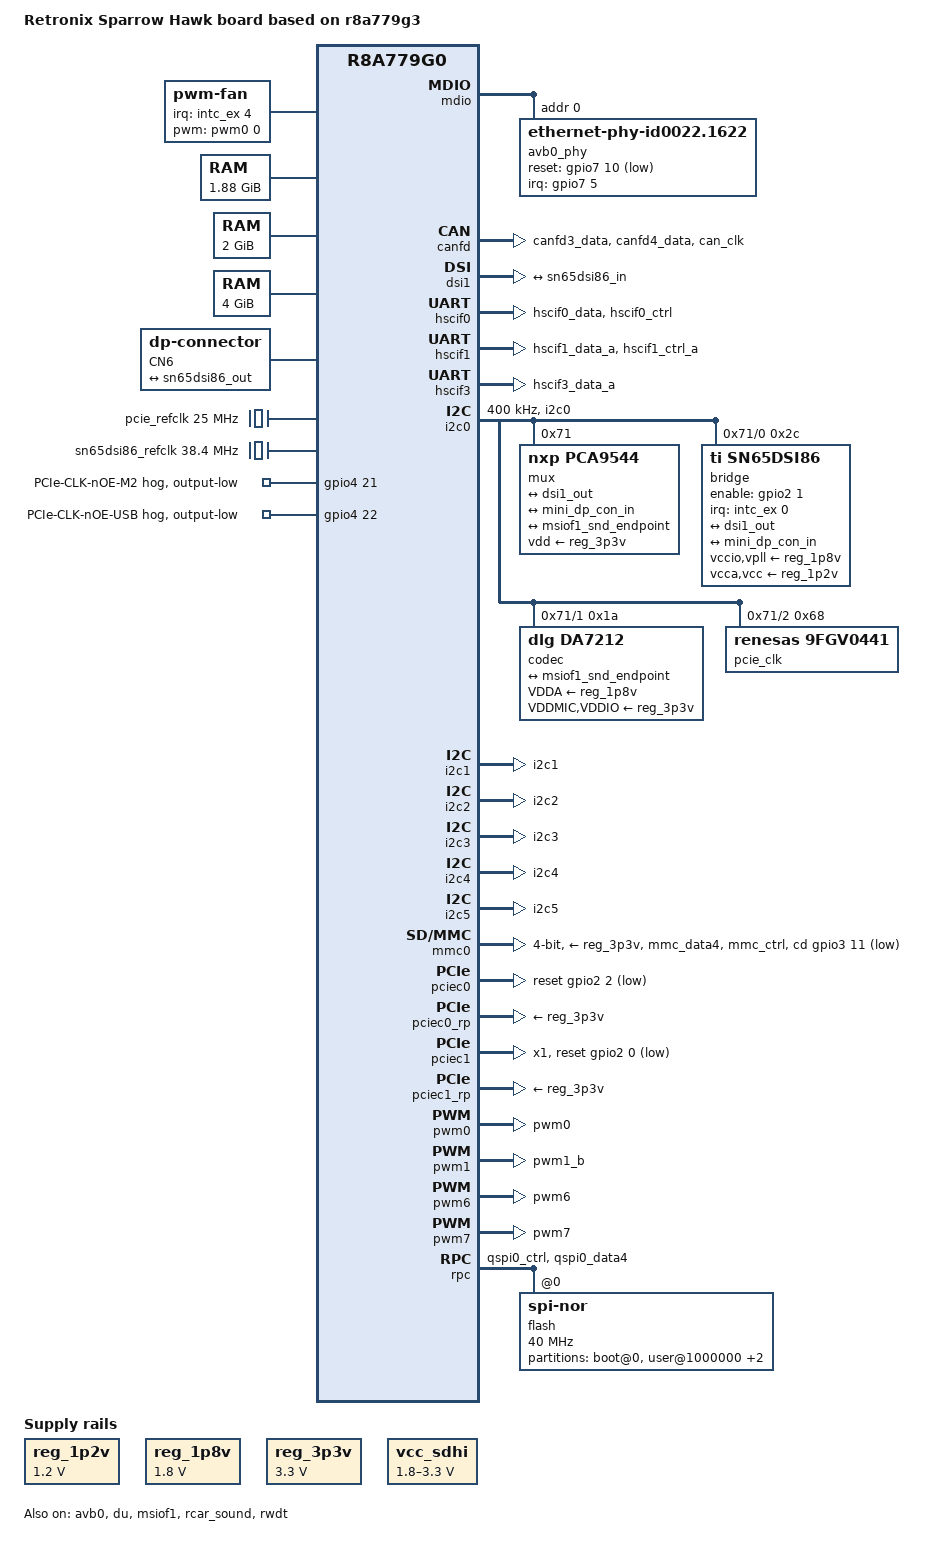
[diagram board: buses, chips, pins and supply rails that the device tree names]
// SPDX-License-Identifier: (GPL-2.0-only OR BSD-2-Clause)
/*
 * Device Tree Source for the R-Car V4H ES3.0 Sparrow Hawk board
 *
 * Copyright (C) 2025 Marek Vasut <marek.vasut+renesas@mailbox.org>
 */
/*
 * DA7212 Codec settings
 *
 * for Playback
 *	> amixer set "Headphone" 40%
 *	> amixer set "Headphone" on
 *	> amixer set "Mixout Left DAC Left"  on
 *	> amixer set "Mixout Right DAC Right" on
 *	> aplay xxx.wav
 *
 * for Capture (Aux/Mic)
 *
 *		on/off (B)
 *	CONN3 (HeadSet) ---+----> MSIOF1
 *			   |
 *	CONN4 AUX ---------+ on/off (A)
 *
 *	> amixer set "Mixin PGA" on
 *	> amixer set "Mixin PGA" 50%
 *	> amixer set "ADC" on
 *	> amixer set "ADC" 80%
 *	> amixer set "Aux" on				^
 *	> amixer set "Aux" 80%				| (A)
 *	> amixer set "Mixin Left Aux Left" on		|
 *	> amixer set "Mixin Right Aux Right" on		v
 *	> amixer set "Mic 1" on				^
 *	> amixer set "Mic 1" 80%			| (B)
 *	> amixer set "Mixin Left Mic 1" on		|
 *	> amixer set "Mixin Right Mic 1" on		v
 *	> arecord -f cd xxx.wav
 */

/dts-v1/;
#include <dt-bindings/gpio/gpio.h>
#include <dt-bindings/thermal/thermal.h>

#include "r8a779g3.dtsi"

/ {
	model = "Retronix Sparrow Hawk board based on r8a779g3";
	compatible = "retronix,sparrow-hawk", "renesas,r8a779g3",
		     "renesas,r8a779g0";

	aliases {
		ethernet0 = &avb0;
		i2c0 = &i2c0;
		i2c1 = &i2c1;
		i2c2 = &i2c2;
		i2c3 = &i2c3;
		i2c4 = &i2c4;
		i2c5 = &i2c5;
		serial0 = &hscif0;
		serial1 = &hscif1;
		serial2 = &hscif3;
		spi0 = &rpc;
	};

	chosen {
		bootargs = "ignore_loglevel rw root=/dev/nfs ip=on";
		stdout-path = "serial0:921600n8";
	};

	/* Page 31 / FAN */
	fan: pwm-fan {
		pinctrl-0 = <&irq4_pins>;
		pinctrl-names = "default";
		compatible = "pwm-fan";
		#cooling-cells = <2>;
		interrupts-extended = <&intc_ex 4 IRQ_TYPE_EDGE_FALLING>;
		/*
		 * The fan model connected to this device can be selected
		 * by user. Set "cooling-levels" DT property to single 255
		 * entry to force the fan PWM into constant HIGH, which
		 * forces the fan to spin at maximum RPM, thus providing
		 * maximum cooling to this device and protection against
		 * misconfigured PWM duty cycle to the fan.
		 *
		 * User has to configure "pwms" and "pulses-per-revolution"
		 * DT properties according to fan datasheet first, and then
		 * extend "cooling-levels = <0 m n ... 255>" property to
		 * achieve proper fan control compatible with fan model
		 * installed by user.
		 */
		cooling-levels = <255>;
		pulses-per-revolution = <2>;
		pwms = <&pwm0 0 50000>;
	};

	/*
	 * Page 15 / LPDDR5
	 *
	 * This configuration listed below is for the 8 GiB board variant
	 * with MT62F1G64D8EK-023 WT:C LPDDR5 part populated on the board.
	 *
	 * A variant with 16 GiB MT62F2G64D8EK-023 WT:C part populated on
	 * the board is automatically handled by the bootloader, which
	 * adjusts the correct DRAM size into the memory nodes below.
	 */
	memory@48000000 {
		device_type = "memory";
		/* first 128MB is reserved for secure area. */
		reg = <0x0 0x48000000 0x0 0x78000000>;
	};

	memory@480000000 {
		device_type = "memory";
		reg = <0x4 0x80000000 0x0 0x80000000>;
	};

	memory@600000000 {
		device_type = "memory";
		reg = <0x6 0x00000000 0x1 0x00000000>;
	};

	/* Page 27 / DSI to Display */
	mini-dp-con {
		compatible = "dp-connector";
		label = "CN6";
		type = "full-size";

		port {
			mini_dp_con_in: endpoint {
				remote-endpoint = <&sn65dsi86_out>;
			};
		};
	};

	/* Page 26 / PCIe.0/1 CLK */
	pcie_refclk: clk-x8 {
		compatible = "fixed-clock";
		#clock-cells = <0>;
		clock-frequency = <25000000>;
	};

	reg_1p2v: regulator-1p2v {
		compatible = "regulator-fixed";
		regulator-name = "fixed-1.2V";
		regulator-min-microvolt = <1200000>;
		regulator-max-microvolt = <1200000>;
		regulator-boot-on;
		regulator-always-on;
	};

	reg_1p8v: regulator-1p8v {
		compatible = "regulator-fixed";
		regulator-name = "fixed-1.8V";
		regulator-min-microvolt = <1800000>;
		regulator-max-microvolt = <1800000>;
		regulator-boot-on;
		regulator-always-on;
	};

	reg_3p3v: regulator-3p3v {
		compatible = "regulator-fixed";
		regulator-name = "fixed-3.3V";
		regulator-min-microvolt = <3300000>;
		regulator-max-microvolt = <3300000>;
		regulator-boot-on;
		regulator-always-on;
	};

	/* Page 27 / DSI to Display */
	sn65dsi86_refclk: clk-x9 {
		compatible = "fixed-clock";
		#clock-cells = <0>;
		clock-frequency = <38400000>;
	};

	/* Page 30 / Audio_Codec */
	sound_card: sound {
		compatible = "audio-graph-card2";
		links = <&msiof1_snd>;
	};

	/* Page 17 uSD-Slot */
	vcc_sdhi: regulator-vcc-sdhi {
		compatible = "regulator-gpio";
		regulator-name = "SDHI VccQ";
		regulator-min-microvolt = <1800000>;
		regulator-max-microvolt = <3300000>;
		gpios = <&gpio8 13 GPIO_ACTIVE_HIGH>;
		gpios-states = <1>;
		states = <1800000 0>, <3300000 1>;
	};
};

/* Use thermal-idle cooling for all SoC cores */
&a76_0 {
	#cooling-cells = <2>;

	a76_0_thermal_idle: thermal-idle {
		#cooling-cells = <2>;
		duration-us = <10000>;
		exit-latency-us = <500>;
	};
};

&a76_1 {
	a76_1_thermal_idle: thermal-idle {
		#cooling-cells = <2>;
		duration-us = <10000>;
		exit-latency-us = <500>;
	};
};

&a76_2 {
	a76_2_thermal_idle: thermal-idle {
		#cooling-cells = <2>;
		duration-us = <10000>;
		exit-latency-us = <500>;
	};
};

&a76_3 {
	a76_3_thermal_idle: thermal-idle {
		#cooling-cells = <2>;
		duration-us = <10000>;
		exit-latency-us = <500>;
	};
};

&audio_clkin {
	clock-frequency = <24576000>;
};

/* Page 22 / Ether_AVB0 */
&avb0 {
	pinctrl-0 = <&avb0_pins>;
	pinctrl-names = "default";
	phy-handle = <&avb0_phy>;
	tx-internal-delay-ps = <2000>;
	status = "okay";

	mdio {
		#address-cells = <1>;
		#size-cells = <0>;

		avb0_phy: ethernet-phy@0 {	/* KSZ9031RNXVB */
			compatible = "ethernet-phy-id0022.1622",
				     "ethernet-phy-ieee802.3-c22";
			rxc-skew-ps = <1500>;
			reg = <0>;
			/* AVB0_PHY_INT_V */
			interrupts-extended = <&gpio7 5 IRQ_TYPE_LEVEL_LOW>;
			/* GP7_10/AVB0_RESETN_V */
			reset-gpios = <&gpio7 10 GPIO_ACTIVE_LOW>;
			reset-assert-us = <10000>;
			reset-deassert-us = <300>;
		};
	};
};

/* Page 28 / CANFD_IF */
&can_clk {
	clock-frequency = <40000000>;
};

/* Page 28 / CANFD_IF */
&canfd {
	pinctrl-0 = <&canfd3_pins>, <&canfd4_pins>, <&can_clk_pins>;
	pinctrl-names = "default";

	status = "okay";

	channel3 {
		status = "okay";
	};

	channel4 {
		status = "okay";
	};
};

/* Page 27 / DSI to Display */
&dsi1 {
	status = "okay";

	ports {
		port@1 {
			dsi1_out: endpoint {
				remote-endpoint = <&sn65dsi86_in>;
				data-lanes = <1 2 3 4>;
			};
		};
	};
};

/* Page 27 / DSI to Display */
&du {
	status = "okay";
};

/* Page 5 / R-Car V4H_INT_I2C */
&extal_clk {	/* X3 */
	clock-frequency = <16666666>;
};

/* Page 5 / R-Car V4H_INT_I2C */
&extalr_clk {	/* X2 */
	clock-frequency = <32768>;
};

/* Page 26 / 2230 Key M M.2 */
&gpio4 {
	/* 9FGV0441 nOE inputs 0 and 1 */
	pcie-m2-oe-hog {
		gpio-hog;
		gpios = <21 GPIO_ACTIVE_HIGH>;
		output-low;
		line-name = "PCIe-CLK-nOE-M2";
	};

	/* 9FGV0441 nOE inputs 2 and 3 */
	pcie-usb-oe-hog {
		gpio-hog;
		gpios = <22 GPIO_ACTIVE_HIGH>;
		output-low;
		line-name = "PCIe-CLK-nOE-USB";
	};
};

/* Page 23 / DEBUG */
&hscif0 {	/* FTDI ADBUS[3:0] */
	pinctrl-0 = <&hscif0_pins>;
	pinctrl-names = "default";
	uart-has-rtscts;
	bootph-all;

	status = "okay";
};

/* Page 23 / DEBUG */
&hscif1 {	/* FTDI BDBUS[3:0] */
	pinctrl-0 = <&hscif1_pins>;
	pinctrl-names = "default";
	uart-has-rtscts;

	status = "okay";
};

/* Page 24 / UART */
&hscif3 {	/* CN7 pins 8 (TX) and 10 (RX) */
	pinctrl-0 = <&hscif3_pins>;
	pinctrl-names = "default";

	status = "okay";
};

/* Page 24 / I2C SWITCH */
&i2c0 {
	#address-cells = <1>;
	#size-cells = <0>;
	pinctrl-0 = <&i2c0_pins>;
	pinctrl-names = "default";
	clock-frequency = <400000>;
	status = "okay";

	mux@71 {
		compatible = "nxp,pca9544";	/* TCA9544 */
		reg = <0x71>;
		#address-cells = <1>;
		#size-cells = <0>;
		vdd-supply = <&reg_3p3v>;

		i2c0_mux0: i2c@0 {
			reg = <0>;
			#address-cells = <1>;
			#size-cells = <0>;

			/* Page 27 / DSI to Display */
			bridge@2c {
				pinctrl-0 = <&irq0_pins>;
				pinctrl-names = "default";

				compatible = "ti,sn65dsi86";
				reg = <0x2c>;

				clocks = <&sn65dsi86_refclk>;
				clock-names = "refclk";

				interrupts-extended = <&intc_ex 0 IRQ_TYPE_LEVEL_HIGH>;

				enable-gpios = <&gpio2 1 GPIO_ACTIVE_HIGH>;

				vccio-supply = <&reg_1p8v>;
				vpll-supply = <&reg_1p8v>;
				vcca-supply = <&reg_1p2v>;
				vcc-supply = <&reg_1p2v>;

				ports {
					#address-cells = <1>;
					#size-cells = <0>;

					port@0 {
						reg = <0>;
						sn65dsi86_in: endpoint {
							remote-endpoint = <&dsi1_out>;
						};
					};

					port@1 {
						reg = <1>;
						sn65dsi86_out: endpoint {
							remote-endpoint = <&mini_dp_con_in>;
						};
					};
				};
			};
		};

		i2c0_mux1: i2c@1 {
			reg = <1>;
			#address-cells = <1>;
			#size-cells = <0>;

			/* Page 30 / Audio_Codec */
			codec@1a {
				compatible = "dlg,da7212";

				#sound-dai-cells = <0>;
				reg = <0x1a>;

				clocks = <&rcar_sound>;
				clock-names = "mclk";

				VDDA-supply   = <&reg_1p8v>;
				VDDMIC-supply = <&reg_3p3v>;
				VDDIO-supply  = <&reg_3p3v>;

				port {
					da7212_endpoint: endpoint {
						bitclock-master;
						frame-master;
						remote-endpoint = <&msiof1_snd_endpoint>;
					};
				};
			};
		};

		i2c0_mux2: i2c@2 {
			reg = <2>;
			#address-cells = <1>;
			#size-cells = <0>;

			/* Page 26 / PCIe.0/1 CLK */
			pcie_clk: clk@68 {
				compatible = "renesas,9fgv0441";
				reg = <0x68>;
				clocks = <&pcie_refclk>;
				#clock-cells = <1>;
			};
		};

		i2c0_mux3: i2c@3 {
			reg = <3>;
			#address-cells = <1>;
			#size-cells = <0>;
		};
	};
};

/* Page 29 / CSI_IF_CN / CAM_CN0 */
&i2c1 {
	#address-cells = <1>;
	#size-cells = <0>;
	pinctrl-0 = <&i2c1_pins>;
	pinctrl-names = "default";
};

/* Page 29 / CSI_IF_CN / CAM_CN1 */
&i2c2 {
	#address-cells = <1>;
	#size-cells = <0>;
	pinctrl-0 = <&i2c2_pins>;
	pinctrl-names = "default";
};

/* Page 31 / IO_CN */
&i2c3 {
	#address-cells = <1>;
	#size-cells = <0>;
	pinctrl-0 = <&i2c3_pins>;
	pinctrl-names = "default";
};

/* Page 31 / IO_CN */
&i2c4 {
	#address-cells = <1>;
	#size-cells = <0>;
	pinctrl-0 = <&i2c4_pins>;
	pinctrl-names = "default";
};

/* Page 18 / POWER_CORE and Page 19 / POWER_PMIC */
&i2c5 {
	#address-cells = <1>;
	#size-cells = <0>;
	pinctrl-0 = <&i2c5_pins>;
	pinctrl-names = "default";
};

/* Page 17 uSD-Slot */
&mmc0 {
	pinctrl-0 = <&sd_pins>;
	pinctrl-1 = <&sd_uhs_pins>;
	pinctrl-names = "default", "state_uhs";
	bus-width = <4>;
	cd-gpios = <&gpio3 11 GPIO_ACTIVE_LOW>;	/* SD_CD */
	sd-uhs-sdr50;
	sd-uhs-sdr104;
	vmmc-supply = <&reg_3p3v>;
	vqmmc-supply = <&vcc_sdhi>;
	status = "okay";
};

&msiof1 {
	pinctrl-0 = <&msiof1_pins>;
	pinctrl-names = "default";

	status = "okay";

	/* ignore DT warning */
	/delete-property/#address-cells;
	/delete-property/#size-cells;

	msiof1_snd: port {
		msiof1_snd_endpoint: endpoint {
			remote-endpoint = <&da7212_endpoint>;
		};
	};
};

/* Page 26 / 2230 Key M M.2 */
&pcie0_clkref {
	status = "disabled";
};

&pciec0 {
	clocks = <&cpg CPG_MOD 624>, <&pcie_clk 0>;
	reset-gpios = <&gpio2 2 GPIO_ACTIVE_LOW>;
	status = "okay";
};

&pciec0_rp {
	clocks = <&pcie_clk 1>;
	vpcie3v3-supply = <&reg_3p3v>;
};

/* Page 25 / PCIe to USB */
&pcie1_clkref {
	status = "disabled";
};

&pciec1 {
	clocks = <&cpg CPG_MOD 625>, <&pcie_clk 2>;
	/* uPD720201 is PCIe Gen2 x1 device */
	num-lanes = <1>;
	reset-gpios = <&gpio2 0 GPIO_ACTIVE_LOW>;
	status = "okay";
};

&pciec1_rp {
	clocks = <&pcie_clk 3>;
	vpcie3v3-supply = <&reg_3p3v>;
};

&pfc {
	pinctrl-0 = <&scif_clk_pins>;
	pinctrl-names = "default";

	/* Page 22 / Ether_AVB0 */
	avb0_pins: avb0 {
		mux {
			groups = "avb0_link", "avb0_mdio", "avb0_rgmii",
				 "avb0_txcrefclk";
			function = "avb0";
		};

		pins-mdio {
			groups = "avb0_mdio";
			drive-strength = <21>;
		};

		pins-mii {
			groups = "avb0_rgmii";
			drive-strength = <21>;
		};

		pins-vddq18-25-avb {
			pins = "PIN_VDDQ_AVB0", "PIN_VDDQ_AVB1", "PIN_VDDQ_AVB2", "PIN_VDDQ_TSN0";
			power-source = <1800>;
		};
	};

	/* Page 28 / CANFD_IF */
	can_clk_pins: can-clk {
		groups = "can_clk";
		function = "can_clk";
	};

	/* Page 28 / CANFD_IF */
	canfd3_pins: canfd3 {
		groups = "canfd3_data";
		function = "canfd3";
	};

	/* Page 28 / CANFD_IF */
	canfd4_pins: canfd4 {
		groups = "canfd4_data";
		function = "canfd4";
	};

	/* Page 23 / DEBUG */
	hscif0_pins: hscif0 {
		groups = "hscif0_data", "hscif0_ctrl";
		function = "hscif0";
	};

	/* Page 23 / DEBUG */
	hscif1_pins: hscif1 {
		groups = "hscif1_data_a", "hscif1_ctrl_a";
		function = "hscif1";
	};

	/* Page 24 / UART */
	hscif3_pins: hscif3 {
		groups = "hscif3_data_a";
		function = "hscif3";
	};

	/* Page 24 / I2C SWITCH */
	i2c0_pins: i2c0 {
		groups = "i2c0";
		function = "i2c0";
	};

	/* Page 29 / CSI_IF_CN / CAM_CN0 */
	i2c1_pins: i2c1 {
		groups = "i2c1";
		function = "i2c1";
	};

	/* Page 29 / CSI_IF_CN / CAM_CN1 */
	i2c2_pins: i2c2 {
		groups = "i2c2";
		function = "i2c2";
	};

	/* Page 31 / IO_CN */
	i2c3_pins: i2c3 {
		groups = "i2c3";
		function = "i2c3";
	};

	/* Page 31 / IO_CN */
	i2c4_pins: i2c4 {
		groups = "i2c4";
		function = "i2c4";
	};

	/* Page 18 / POWER_CORE */
	i2c5_pins: i2c5 {
		groups = "i2c5";
		function = "i2c5";
	};

	/* Page 27 / DSI to Display */
	irq0_pins: irq0 {
		groups = "intc_ex_irq0_a";
		function = "intc_ex";
	};

	/* Page 31 / FAN */
	irq4_pins: irq4 {
		groups = "intc_ex_irq4_b";
		function = "intc_ex";
	};

	/* Page 31 / FAN */
	pwm0_pins: pwm0 {
		groups = "pwm0";
		function = "pwm0";
	};

	/* Page 31 / CN7 pin 12 */
	pwm1_pins: pwm1 {
		groups = "pwm1_b";
		function = "pwm1";
	};

	/* Page 31 / CN7 pin 32 */
	pwm6_pins: pwm6 {
		groups = "pwm6";
		function = "pwm6";
	};

	/* Page 31 / CN7 pin 33 */
	pwm7_pins: pwm7 {
		groups = "pwm7";
		function = "pwm7";
	};

	/* Page 16 / QSPI_FLASH */
	qspi0_pins: qspi0 {
		groups = "qspi0_ctrl", "qspi0_data4";
		function = "qspi0";
		bootph-all;
	};

	/* Page 6 / SCIF_CLK_SOC_V */
	scif_clk_pins: scif-clk {
		groups = "scif_clk";
		function = "scif_clk";
	};

	/* Page 17 uSD-Slot */
	sd_pins: sd {
		groups = "mmc_data4", "mmc_ctrl";
		function = "mmc";
		power-source = <3300>;
	};

	/* Page 17 uSD-Slot */
	sd_uhs_pins: sd-uhs {
		groups = "mmc_data4", "mmc_ctrl";
		function = "mmc";
		power-source = <1800>;
	};

	/* Page 30 / Audio_Codec */
	msiof1_pins: sound {
		groups = "msiof1_clk", "msiof1_sync", "msiof1_txd", "msiof1_rxd";
		function = "msiof1";
	};

	/* Page 30 / Audio_Codec */
	sound_clk_pins: sound-clk {
		groups = "audio_clkin", "audio_clkout";
		function = "audio_clk";
	};
};

/* Page 31 / FAN */
&pwm0 {
	pinctrl-0 = <&pwm0_pins>;
	pinctrl-names = "default";
	status = "okay";
};

/* Page 31 / CN7 pin 12 */
&pwm1 {
	pinctrl-0 = <&pwm1_pins>;
	pinctrl-names = "default";
	status = "okay";
};

/* Page 31 / CN7 pin 32 */
&pwm6 {
	pinctrl-0 = <&pwm6_pins>;
	pinctrl-names = "default";
	status = "okay";
};

/* Page 31 / CN7 pin 33 */
&pwm7 {
	pinctrl-0 = <&pwm7_pins>;
	pinctrl-names = "default";
	status = "okay";
};

/* Page 30 / Audio_Codec */
&rcar_sound {
	pinctrl-0 = <&sound_clk_pins>;
	pinctrl-names = "default";

	/* It is used for ADG output as DA7212_MCLK */

	/* audio_clkout */
	clock-frequency = <12288000>; /* 48 kHz groups */

	status = "okay";
};

/* Page 16 / QSPI_FLASH */
&rpc {
	pinctrl-0 = <&qspi0_pins>;
	pinctrl-names = "default";
	bootph-all;

	status = "okay";

	flash@0 {
		/*
		 * EVTA1 is populated with Spansion S25FS512S
		 * EVTB1 is populated with Winbond W77Q51NW
		 */
		compatible = "jedec,spi-nor";
		reg = <0>;
		spi-max-frequency = <40000000>;
		spi-rx-bus-width = <4>;
		spi-tx-bus-width = <4>;
		bootph-all;

		partitions {
			compatible = "fixed-partitions";
			#address-cells = <1>;
			#size-cells = <1>;

			boot@0 {
				reg = <0x0 0x1000000>;
				read-only;
			};

			user@1000000 {
				reg = <0x1000000 0x2f80000>;
			};

			env1@3f80000 {
				reg = <0x3f80000 0x40000>;
			};

			env2@3fc0000 {
				reg = <0x3fc0000 0x40000>;
			};
		};
	};
};

&rwdt {
	timeout-sec = <60>;
	status = "okay";
};

/* Page 6 / SCIF_CLK_SOC_V */
&scif_clk {	/* X12 */
	clock-frequency = <24000000>;
};

/* THS sensors in SoC, critical temperature trip point is 100C */
&sensor1_crit {
	temperature = <100000>;
};

&sensor2_crit {
	temperature = <100000>;
};

&sensor3_crit {
	temperature = <100000>;
};

&sensor4_crit {
	temperature = <100000>;
};

/* THS sensor in SoC near CA76 cores does more progressive cooling. */
&sensor_thermal_ca76 {
	critical-action = "shutdown";

	cooling-maps {
		/*
		 * The cooling-device minimum and maximum parameters inversely
		 * match opp-table-0 {} node entries in r8a779g0.dtsi, in other
		 * words, 0 refers to 1.8 GHz OPP and 4 refers to 500 MHz OPP.
		 * This is because they refer to cooling levels, where maximum
		 * cooling level happens at 500 MHz OPP, when the CPU core is
		 * running slowly and therefore generates least heat.
		 */
		map0 {
			/* At 68C, inhibit 1.7 GHz and 1.8 GHz modes */
			trip = <&sensor3_passive_low>;
			cooling-device = <&a76_0 2 4>;
			contribution = <128>;
		};

		map1 {
			/* At 72C, inhibit 1.5 GHz mode */
			trip = <&sensor3_passive_mid>;
			cooling-device = <&a76_0 3 4>;
			contribution = <256>;
		};

		map2 {
			/* At 76C, start injecting idle states 0..80% of time */
			trip = <&sensor3_passive_hi>;
			cooling-device = <&a76_0_thermal_idle 0 80>,
					 <&a76_1_thermal_idle 0 80>,
					 <&a76_2_thermal_idle 0 80>,
					 <&a76_3_thermal_idle 0 80>;
			contribution = <512>;
		};

		map3 {
			/* At 80C, inhibit 1.0 GHz mode */
			trip = <&sensor3_passive_crit>;
			cooling-device = <&a76_0 4 4>;
			contribution = <1024>;
		};
	};

	trips {
		sensor3_passive_low: sensor3-passive-low {
			temperature = <68000>;
			hysteresis = <2000>;
			type = "passive";
		};

		sensor3_passive_mid: sensor3-passive-mid {
			temperature = <72000>;
			hysteresis = <2000>;
			type = "passive";
		};

		sensor3_passive_hi: sensor3-passive-hi {
			temperature = <76000>;
			hysteresis = <2000>;
			type = "passive";
		};

		sensor3_passive_crit: sensor3-passive-crit {
			temperature = <80000>;
			hysteresis = <2000>;
			type = "passive";
		};
	};
};

&sensor_thermal_cnn {
	critical-action = "shutdown";
};

&sensor_thermal_cr52 {
	critical-action = "shutdown";
};

&sensor_thermal_ddr1 {
	critical-action = "shutdown";
};
